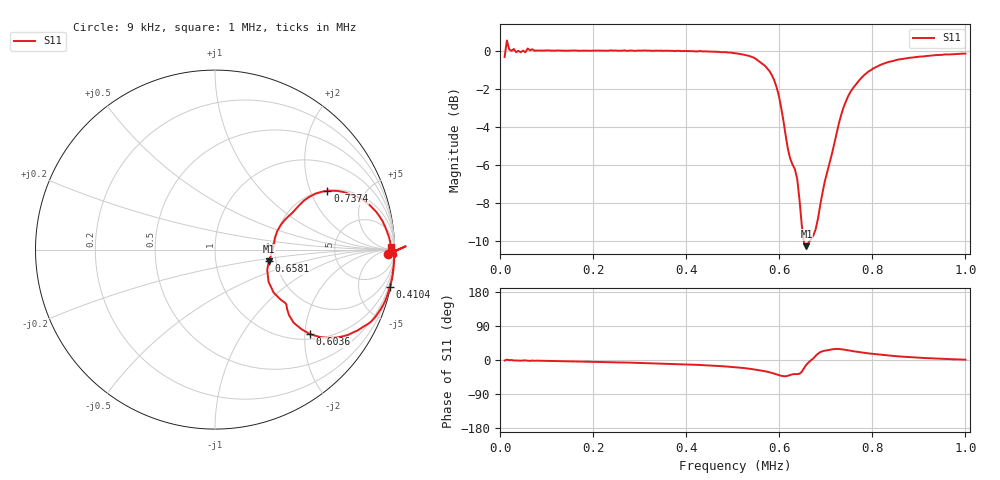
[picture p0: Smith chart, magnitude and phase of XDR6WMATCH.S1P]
!Agilent Technologies,E5071C,MY46100305,A.07.02
!Date: Fri Jan 01 00:56:04 1988
!Data & Calibration Information:
!Freq	S11:SOLT1(ON)
# Hz S MA R 50
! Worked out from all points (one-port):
!   201 points, 9 kHz to 1 MHz, reference 50 ohm
!   lowest |S11| = -10.3 dB at 658.1 kHz (marker M1), VSWR 1.89, Z = 91.6 - j13.2 ohm
!   |S11| at or under -10 dB: 652.5 kHz to 664.9 kHz (12.38 kHz wide, 1.88 % of centre)
!   S11 on the Smith chart (normalised r, x): 9 kHz: 37, -23; 410.4 kHz: 0.17, -9.43; 603.6 kHz: 1.12, -2.13; 658.1 kHz: 1.83, -0.26; 737.4 kHz: 2.02, +2.65; 1 MHz: 62, +54
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9000  0.9615 -1.4
13955  1.063 1.0
18910  1.007 -0.5
33775  0.9902 -1.2
58550  1.012 -1.9
132875  0.9994 -3.1
256750  0.9989 -6.4
380625  0.9987 -10.6
410355  0.9963 -12.1
504500  0.9837 -18.9
539185  0.9637 -23.7
568915  0.9122 -29.7
588735  0.8362 -35.9
603600  0.7106 -41.6
613510  0.5981 -42.9
628375  0.5016 -37.6
638285  0.4607 -37.3
643240  0.4058 -36.3
653150  0.3121 -21.2
658105  0.3068 -12.3
677925  0.3396 10.9
692790  0.4243 23.2
717565  0.5665 28.8
737385  0.7066 27.6
752250  0.777 24.5
801800  0.8974 16.0
876125  0.9557 7.9
1000000  0.9818 0.9
